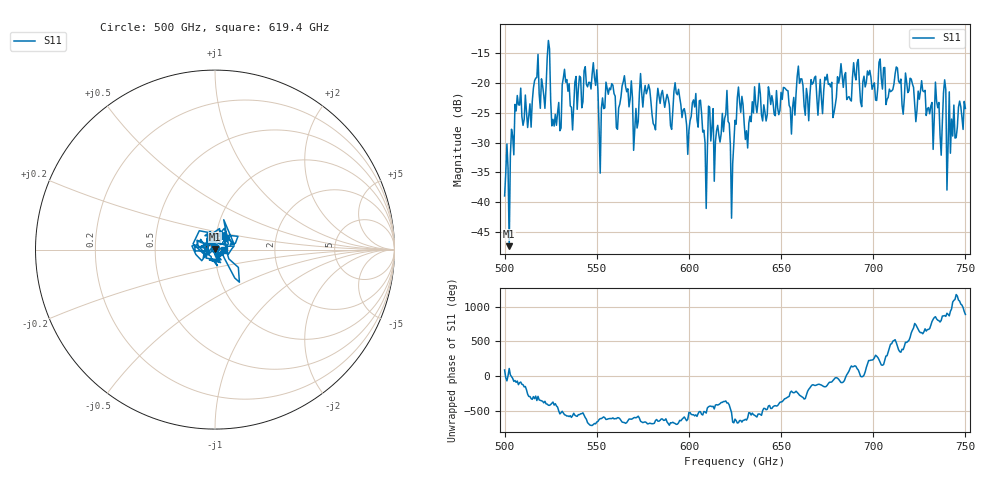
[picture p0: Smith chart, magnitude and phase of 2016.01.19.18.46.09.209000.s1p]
!Created with skrf (http://scikit-rf.org).
# GHz S RI R 50.0
!freq ReS11 ImS11
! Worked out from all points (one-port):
!   401 points, 500 GHz to 750 GHz, reference 50 ohm
!   lowest |S11| = -47.4 dB at 502.5 GHz (marker M1), VSWR 1.01, Z = 49.8 + j0.392 ohm
!   |S11| at or under -10 dB: start of sweep to end of sweep
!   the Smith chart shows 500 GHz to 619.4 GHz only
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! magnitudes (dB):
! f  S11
! 500 GHz  -39.0
! 502.5 GHz  -47.4
! 506.9 GHz  -22.1
! 513.1 GHz  -25.5
! 516.9 GHz  -19.2
! 523.8 GHz  -12.9
! 526.9 GHz  -27.2
! 531.2 GHz  -20.3
! 548.8 GHz  -19.1
! 552.5 GHz  -24.3
! 556.2 GHz  -21.9
! 562.5 GHz  -23.6
! 593.8 GHz  -22.0
! 606.9 GHz  -25.1
! 608.8 GHz  -30.0
! 611.9 GHz  -29.8
! 620.6 GHz  -21.3
! 623.1 GHz  -42.7
! 625 GHz  -26.3
! 627.5 GHz  -23.2
! 631.2 GHz  -28.0
! 636.9 GHz  -25.0
! 656.2 GHz  -24.1
! 660 GHz  -20.1
! 687.5 GHz  -22.8
! 718.8 GHz  -21.6
! 741.2 GHz  -21.5
! 750 GHz  -24.3
